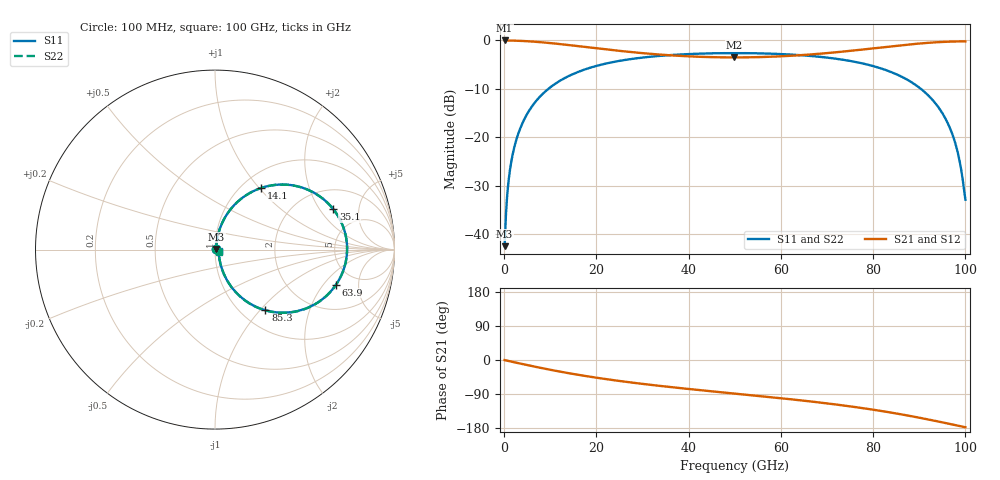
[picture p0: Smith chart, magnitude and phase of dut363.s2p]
! Touchstone file exported from HFSS 2026.1.0
!  File:  C:/ffzhzh/LocalFiles/Ansys_Project_Files/temp_train_RDL_363_1783503444_41296.aedt
!  Generated:  05:38:50 PM Jul  8, 2026
!  Design:  RDL
!  Project:  temp_train_RDL_363_1783503444_41296
! Variables:
!  h_bsmrdl = 2um
!  h_ox = 20um
!  h_rdl = 5um
!  h_sub = 80um
!  h_tmrdl = 3.05um
!  h_tsv = 80um
!  h_via = 3um
!  l_bsmrdl = 300um
!  l_sub = 994.94um
!  l_tmrdl = 594.94um
!  m_sub = 200um
!  pitch = 51.05um
!  r_tsv = 6um
!  s_tmrdl = 10um
!  w_bsmrdl = 18um
!  w_sub = 500um
!  w_tmrdl = 10.53um
!  x_tsv_center1 = 600.205um
!  x_tsv_center2 = 918.205um
!  x_tsv_center3 = 1523.675um
!  x_tsv_center4 = 1841.675um
!  x_tsv_center5 = 2447.145um
!  x_tsv_center6 = 2765.145um
# GHz S MA R 50.000000
! Terminal data exported
! Port[1] = TM_RDL1_1_T1
! Port[2] = TM_RDL1_1_T2
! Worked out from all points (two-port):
!   1000 points, 100 MHz to 100 GHz, reference 50 ohm
!   highest |S21| = -0.06 dB at 100 MHz (marker M1); lowest = -3.6 dB at 49.9 GHz (marker M2)
!   |S21| within 3 dB of the highest: start of sweep to 35.06 GHz; 64.81 GHz to end of sweep
!   lowest |S11| = -42.5 dB at 100 MHz (marker M3), VSWR 1.02, Z = 50.7 + j0.371 ohm
!   |S11| at or under -10 dB: start of sweep to 9.64 GHz; 90.29 GHz to end of sweep
!   |S22| runs from -42.5 to -2.7 dB; largest |S21 - S12| = 1.8e-14
!   S11 on the Smith chart (normalised r, x): 100 MHz: 1.01, +0.01; 14.1 GHz: 1.22, +1.03; 35.1 GHz: 3.09, +2.70; 63.9 GHz: 3.53, -2.71; 85.3 GHz: 1.28, -1.07; 100 GHz: 1.04, -0.02
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0.1  0.007511 29.2  0.9935 -0.3  0.9935 -0.3  0.007511 29.2
! Gamma 0 0 0 0
! Port Impedance 50 0 50 0
0.9  0.03332 75.1  0.9923 -2.5  0.9923 -2.5  0.03332 75.1
1.4  0.05073 77.7  0.9913 -3.8  0.9913 -3.8  0.05073 77.7
2.4  0.08556 78.2  0.9885 -6.5  0.9885 -6.5  0.08556 78.2
3.7  0.1303 76.3  0.9831 -10.0  0.9831 -10.0  0.1303 76.3
7.8  0.2627 67.2  0.9543 -20.5  0.9543 -20.5  0.2627 67.2
14.1  0.4291 53.2  0.8897 -35.0  0.8897 -35.0  0.4291 53.2
16.8  0.4858 47.7  0.8598 -40.6  0.8598 -40.6  0.4858 47.7
24  0.5997 34.9  0.7852 -53.7  0.7852 -53.7  0.5997 34.9
33.4  0.6866 21.1  0.7127 -67.8  0.7127 -67.8  0.6866 21.0
35.1  0.6969 18.8  0.7031 -70.1  0.7031 -70.1  0.6969 18.8
49.9  0.7361 0.9  0.6641 -88.5  0.6641 -88.5  0.7361 0.8
50.1  0.7361 0.6  0.6641 -88.8  0.6641 -88.8  0.7361 0.5
63.9  0.7023 -16.1  0.6986 -106.0  0.6986 -106.0  0.7024 -16.2
66.7  0.686 -19.8  0.714 -109.8  0.714 -109.8  0.686 -19.9
76.2  0.596 -33.8  0.7868 -124.4  0.7868 -124.4  0.5961 -34.0
83.4  0.4794 -46.6  0.8584 -137.8  0.8584 -137.8  0.4794 -46.7
85.3  0.4397 -50.2  0.878 -141.7  0.878 -141.7  0.4398 -50.4
91.2  0.291 -62.1  0.9334 -155.1  0.9334 -155.1  0.2911 -62.2
95.4  0.1641 -69.4  0.9609 -165.6  0.9609 -165.6  0.1643 -69.4
98  0.08047 -68.7  0.9701 -172.3  0.9701 -172.3  0.08079 -68.5
100  0.02266 -27.7  0.9723 -177.5  0.9723 -177.5  0.02337 -27.4
